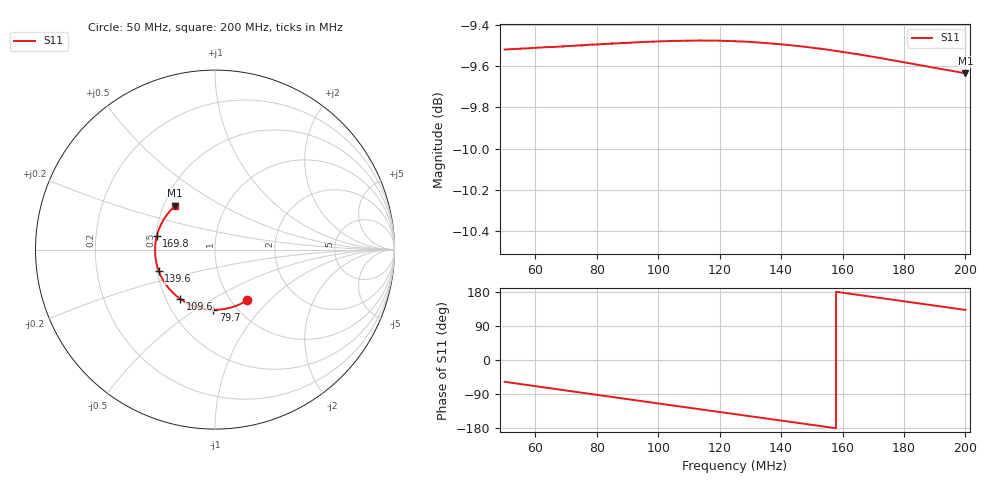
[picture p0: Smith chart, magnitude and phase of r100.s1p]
! COPPER MOUNTAIN TECHNOLOGIES, PLANAR TR1300/1, 00071119, 20.2.2/1.0
! Date: 1/9/2024 7:40:48 PM
! Data: Format [Calibration Info]
! Freq  S11: Re/Im F1
# HZ S RI R 50
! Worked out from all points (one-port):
!   12288 points, 50 MHz to 200 MHz, reference 50 ohm
!   lowest |S11| = -9.6 dB at 200 MHz (marker M1), VSWR 1.98, Z = 28.7 + j15.8 ohm
!   |S11| at or under -10 dB: nowhere
!   S11 on the Smith chart (normalised r, x): 50 MHz: 1.18, -0.75; 79.7 MHz: 0.79, -0.59; 109.6 MHz: 0.59, -0.36; 139.6 MHz: 0.51, -0.14; 169.8 MHz: 0.51, +0.09; 200 MHz: 0.57, +0.32
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5e7  0.1796 -0.2819
5.294213e7  0.1626 -0.2921
5.97298e7  0.1216 -0.3117
6.413689e7  0.0937 -0.3213
6.875153e7  0.0637 -0.3287
7.408643e7  0.0284 -0.3338
7.970212e7  -0.00901 -0.3351
8.750305e7  -0.0607 -0.3299
9.215431e7  -0.0909 -0.323
9.672011e7  -0.1197 -0.3136
1.015179e8  -0.149 -0.3009
1.062546e8  -0.1766 -0.2857
1.09563e8  -0.1949 -0.2736
1.172296e8  -0.2339 -0.2411
1.250061e8  -0.2678 -0.2026
1.322577e8  -0.2937 -0.1623
1.396435e8  -0.3138 -0.118
1.437576e8  -0.3221 -0.0921
1.485554e8  -0.3291 -0.0613
1.532433e8  -0.333 -0.0306
1.578335e8  -0.334 -0.000431
1.625092e8  -0.3322 0.0303
1.698096e8  -0.3237 0.0776
1.754375e8  -0.3126 0.113
1.812607e8  -0.2969 0.148
1.898795e8  -0.2666 0.1959
1.958493e8  -0.2411 0.2257
2e8  -0.2213 0.2446
